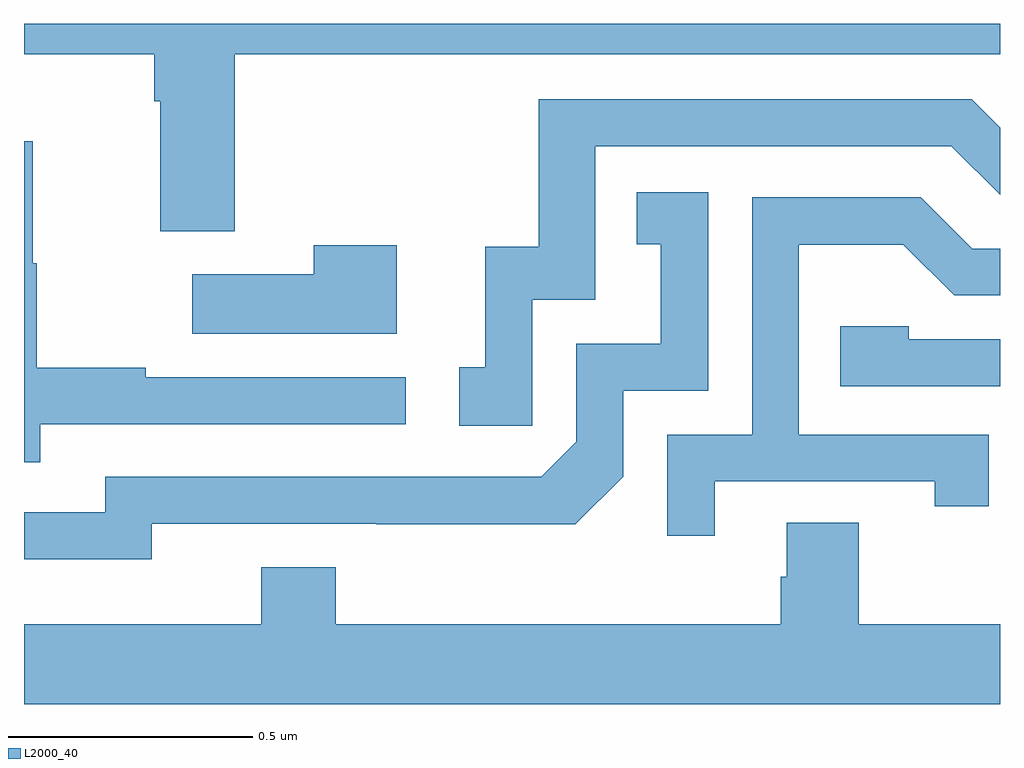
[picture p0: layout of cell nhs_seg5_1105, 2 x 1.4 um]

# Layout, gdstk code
import gdstk
lib = gdstk.Library(unit=1e-6, precision=1e-09)
def P(c, l, *ps):  # polygons
    for p in ps: c.add(gdstk.Polygon(p, *l))
L2000_40 = (2000, 40)

nhs_seg5_1105 = lib.new_cell('nhs_seg5_1105')
P(nhs_seg5_1105, L2000_40, [(125.432,880.736),(127,880.736),(127,880.799),(125,880.799),(125,880.736),(125.267,880.736),(125.267,880.64),(125.279,880.64),(125.279,880.374),(125.432,880.374)],
  [(126.042,880.233),(126.171,880.233),(126.171,880.548),(126.9,880.548),(127,880.448),(127,880.586),(126.942,880.644),(126.055,880.644),(126.055,880.342),(125.945,880.342),(125.945,880.095),(125.892,880.095),(125.892,879.975),(126.042,879.975)],
  [(125.033,879.978),(125.782,879.978),(125.782,880.074),(125.249,880.074),(125.249,880.094),(125.026,880.094),(125.026,880.308),(125.018,880.308),(125.018,880.558),(125,880.558),(125,879.9),(125.033,879.9)],
  [(125.262,879.774),(125.722,879.774),(125.722,879.773),(126.13,879.773),(126.228,879.87),(126.228,880.047),(126.402,880.047),(126.402,880.453),(126.256,880.453),(126.256,880.347),(126.305,880.347),(126.305,880.143),(126.132,880.143),(126.132,879.942),(126.06,879.87),(125.166,879.87),(125.166,879.798),(125,879.798),(125,879.701),(125.262,879.701)],
  [(126.415,879.861),(126.866,879.861),(126.866,879.81),(126.977,879.81),(126.977,879.957),(126.588,879.957),(126.588,880.346),(126.802,880.346),(126.906,880.242),(127,880.242),(127,880.338),(126.943,880.338),(126.838,880.443),(126.492,880.443),(126.492,879.957),(126.318,879.957),(126.318,879.75),(126.415,879.75)],
  [(125.764,880.345),(125.594,880.345),(125.594,880.285),(125.345,880.285),(125.345,880.163),(125.764,880.163)],
  [(127,880.152),(126.813,880.152),(126.813,880.179),(126.673,880.179),(126.673,880.056),(127,880.056)],
  [(127,879.568),(126.711,879.568),(126.711,879.776),(126.563,879.776),(126.563,879.666),(126.551,879.666),(126.551,879.568),(125.639,879.568),(125.639,879.685),(125.486,879.685),(125.486,879.568),(125,879.568),(125,879.404),(127,879.404)])

lib.write_gds('nhs_seg5_1105.gds')
